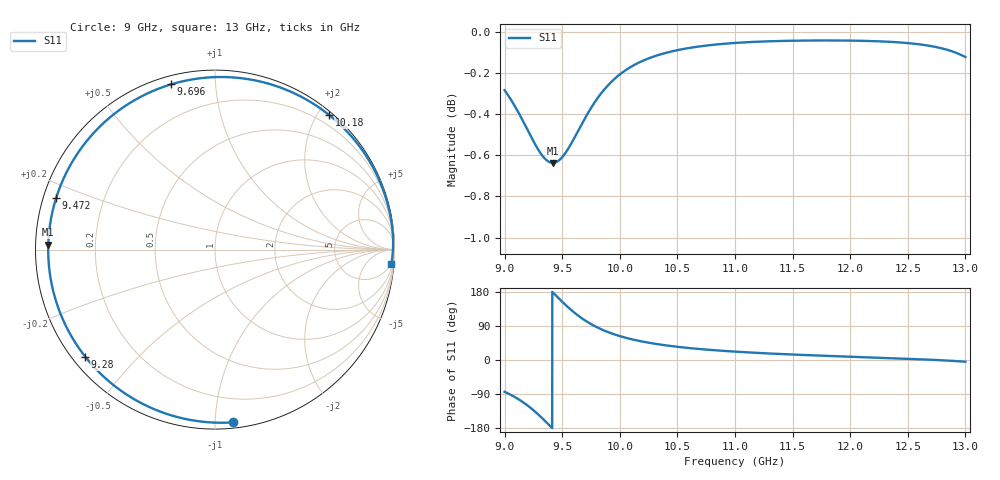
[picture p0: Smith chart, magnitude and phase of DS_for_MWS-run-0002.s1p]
! TOUCHSTONE file generated by CST DESIGN STUDIO
! Date and time: Tue Feb  4 15:41:36 2025
! Project name: C:\Work\MatlabApps\UnitCellOptimizationMatlab\CST\unitcell.cst
! Tree item: Tasks\Sweep1\SPara1\S-Parameters
! Header version: 2024
! Port assignment regex: !\s*Touchstone port\s*([0-9]+)\s*=\s*(CST MWS port|CST DES external port|CST DES block port)\s*(.+)\s* \(\"(.*)\"\)(\s*mode\s*([0-9]+))?.*
! Touchstone port assignment:
! Touchstone port 1 = CST DES external port 1 ("")
# GHz S MA R 50
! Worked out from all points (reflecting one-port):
!   4001 points, 9 GHz to 13 GHz, reference 50 ohm
!   lowest |S11| = -0.6 dB at 9.419 GHz (marker M1), VSWR 27.28, Z = 1.83 + j0.724 ohm
!   phase of S11 starts at -84 deg and turns -281 deg over the sweep
!   S11 on the Smith chart (normalised r, x): 9 GHz: 0.04, -1.11; 9.28 GHz: 0.04, -0.36; 9.472 GHz: 0.04, +0.16; 9.696 GHz: 0.04, +0.77; 10.18 GHz: 0.05, +2.17; 13 GHz: 4, -24
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9  0.9679 -83.9
9.085  0.9597 -97.1
9.155  0.9518 -110.4
9.219  0.9442 -124.7
9.28  0.9374 -140.4
9.354  0.9312 -161.7
9.387  0.9298 -171.8
9.419  0.9293 178.3
9.472  0.9306 162.1
9.5  0.9322 153.7
9.549  0.9363 139.7
9.596  0.9413 127.3
9.645  0.9469 115.7
9.696  0.9526 104.8
9.764  0.9596 92.5
9.844  0.9666 80.5
9.919  0.9719 71.3
10  0.9764 63.1
10.086  0.9802 56.0
10.181  0.9834 49.6
10.327  0.9869 41.8
10.5  0.9898 34.8
10.723  0.9921 28.2
11  0.9938 22.1
11.5  0.995 14.4
12  0.9951 8.7
12.5  0.9937 3.2
13  0.9859 -4.6
